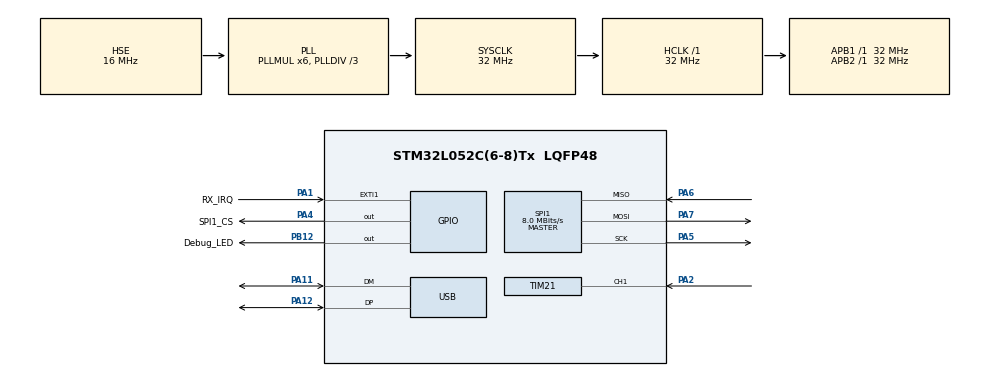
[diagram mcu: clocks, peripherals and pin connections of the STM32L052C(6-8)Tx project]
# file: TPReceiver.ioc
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Mcu.Family=STM32L0
Mcu.Name=STM32L052C(6-8)Tx
Mcu.Package=LQFP48
NVIC.EXTI0_1_IRQn=true\:0\:0\:false\:false\:true\:true\:true\:true
NVIC.TIM21_IRQn=true\:0\:0\:false\:false\:true\:true\:true\:true
NVIC.USB_IRQn=true\:0\:0\:false\:false\:true\:false\:true\:true
PA1.GPIO_Label=RX_IRQ
PA1.GPIO_ModeDefaultEXTI=GPIO_MODE_IT_FALLING
PA1.GPIO_PuPd=GPIO_PULLDOWN
PA1.Signal=GPXTI1
PA11.Mode=Device
PA11.Signal=USB_DM
PA12.Mode=Device
PA12.Signal=USB_DP
PA13.Mode=Serial_Wire
PA13.Signal=SYS_SWDIO
PA14.Mode=Serial_Wire
PA14.Signal=SYS_SWCLK
PA2.Signal=S_TIM21_CH1
PA4.GPIO_Label=SPI1_CS
PA4.Signal=GPIO_Output
PA5.Mode=Full_Duplex_Master
PA5.Signal=SPI1_SCK
PA6.Mode=Full_Duplex_Master
PA6.Signal=SPI1_MISO
PA7.Mode=Full_Duplex_Master
PA7.Signal=SPI1_MOSI
PB12.GPIO_Label=Debug_LED
PB12.Signal=GPIO_Output
PH0-OSC_IN.Mode=HSE-External-Oscillator
PH0-OSC_IN.Signal=RCC_OSC_IN
PH1-OSC_OUT.Mode=HSE-External-Oscillator
PH1-OSC_OUT.Signal=RCC_OSC_OUT
ProjectManager.HeapSize=0x200
ProjectManager.StackSize=0x400
ProjectManager.TargetToolchain=STM32CubeIDE
RCC.AHBFreq_Value=32000000
RCC.APB1Freq_Value=32000000
RCC.APB1TimFreq_Value=32000000
RCC.APB2Freq_Value=32000000
RCC.APB2TimFreq_Value=32000000
RCC.HCLKFreq_Value=32000000
RCC.HSE_VALUE=16000000
RCC.HSI16_VALUE=16000000
RCC.HSI48_VALUE=48000000
RCC.HSI_VALUE=16000000
RCC.LSE_VALUE=32768
RCC.MSI_VALUE=2097000
RCC.PLLDIV=RCC_PLLDIV_3
RCC.PLLMUL=RCC_PLLMUL_6
RCC.SYSCLKFreq_VALUE=32000000
RCC.SYSCLKSource=RCC_SYSCLKSOURCE_PLLCLK
RCC.VCOOutputFreq_Value=96000000
SH.S_TIM21_CH1.0=TIM21_CH1,Input_Capture1_from_TI1
SPI1.BaudRatePrescaler=SPI_BAUDRATEPRESCALER_4
SPI1.CalculateBaudRate=8.0 MBits/s
SPI1.Direction=SPI_DIRECTION_2LINES
SPI1.Mode=SPI_MODE_MASTER
SPI1.VirtualType=VM_MASTER
TIM21.Channel-Input_Capture1_from_TI1=TIM_CHANNEL_1
TIM21.Period=100-1
TIM21.Prescaler=32000-1
USB_DEVICE.CLASS_NAME_FS=CDC
USB_DEVICE.VirtualMode=Cdc
USB_DEVICE.VirtualModeFS=Cdc_FS
VP_TIM21_VS_ClockSourceINT.Mode=Internal
VP_USB_DEVICE_VS_USB_DEVICE_CDC_FS.Mode=CDC_FS
board=custom

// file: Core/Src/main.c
/* USER CODE BEGIN Header */
/**
  ******************************************************************************
  * @file           : main.c
  * @brief          : Main program body
  ******************************************************************************
  * @attention
  *
  * Copyright (c) 2025 STMicroelectronics.
  * All rights reserved.
  *
  * This software is licensed under terms that can be found in the LICENSE file
  * in the root directory of this software component.
  * If no LICENSE file comes with this software, it is provided AS-IS.
  *
  ******************************************************************************
  */
/* USER CODE END Header */
#include "main.h"
#include "usb_device.h"

/* USER CODE BEGIN Includes */
//#include "cc1101.h"
#include "W5500.h"
#include "sensor_map.h"
#include "type_conv.h"
/* USER CODE END Includes */

/* USER CODE BEGIN PTD */

typedef enum {
	PRO_CMD_SENSOR_ID = 				0x01,
	PRO_CMD_SENSOR_TYPE = 				0x02,
	PRO_CMD_STORAGE_SAMPLE = 			0x10,
	PRO_CMD_TRANS_SAMPLE = 				0x11,
	PRO_CMD_TRANS_TX = 					0x12,
	PRO_CMD_STATIC_SAMPLE = 			0x13,
	PRO_CMD_STATIC_TX = 				0x14,
	PRO_CMD_PRESS_THRESH1 = 			0x20,
	PRO_CMD_PRESS_THRESH2 = 			0x21,
	PRO_CMD_PRESS_THRESH_CHANGE = 		0x22,
	PRO_CMD_READ_ALL =					0x50
} pro_cmd_t;

typedef struct {
	uint8_t sensorid;						//this is the default sensorid the current id is stored in eeprom
	uint8_t sensortype;						//0x01 = tyre pressure | 0x02 = brake disk pressure (to be implemented)
	uint32_t storage_time_sample;			//sample rate tx (ms) in transient mode
	uint32_t trans_time_tx;					//sample rate tx (ms) in transient mode
	uint32_t trans_time_sample;				//sample rate abp2 read (ms) in transient mode
	uint32_t static_time_tx;				//sample rate tx (ms) in transient mode
	uint32_t static_time_sample;			//sample rate abp2 read (ms) in transient mode
	float trans_press_thresh1;				//move from storage into transient mode
	float trans_press_thresh2;				//move from transient mode into storage mode
	float trans_press_change;				//minimum pressure change to move to transient mode
	int16_t rssi;
}eeprom_conf_t;

/* USER CODE END PTD */

/* USER CODE BEGIN PD */

#define EXPECTED_BYTES_DATA		15	//bytes send +2 (rssi and lqi)
#define EXPECTED_BYTES_EEPROM	37	//eeprom config +2 (rssi and lqi)

#define W5500_IP
#define W5500_IP

/* USER CODE END PD */

SPI_HandleTypeDef hspi1;

TIM_HandleTypeDef htim21;

/* USER CODE BEGIN PV */

cc1101_t cc1101;

cc1101_marc_state marcstate = CC1101_MARC_SLEEP;

sensor_data sensor_received;
sensor_map_t sensor_map[SENSORS_MAX];
eeprom_conf_t eeprom_conf = {0};

bool Init_complete = false;

//===========CC1101 TX==============
bool tx_send = false;
uint8_t tx_fifo[6] = {0x05, PRO_CMD_READ_ALL, 0x01, 0x02, 0x03, 0x04};

//===========CC1101 RX==============
bool new_data = false;
uint8_t rx_bytes = 0xFF;
uint8_t rx[50] = {0};		//must be big enough to fit all bytes
uint8_t rx_length = 0x00;

//===========Debug variables==============
uint8_t debug_status_part = 0;
uint8_t debug_status_ver = 0;

uint8_t  debug_reg_all_before[46] = {0};
uint8_t  debug_reg_all_after[46] = {0};

uint8_t debug_rx_counter = 0x00;
uint8_t debug_tx_counter = 0x00;
uint8_t debug_pktstatus = 0x00;

uint8_t debug_tx_bytes1 = 0xFF;
uint8_t debug_tx_bytes2 = 0xFF;

//===========W5500s==============
w5500_t w5500;
uint8_t w5500_version = 0xFF;

//local config
uint8_t w5500_max_local[6] = {0x02,0x00,0x00,0x00,0x00,0x69}; 	// locally administered
uint8_t w5500_ip_local [4] = {192,168, 1, 69};					// local IP
uint8_t w5500_subnet_local[4] = {255,255,255, 0};				// Subnet
uint8_t w5500_gw_local [4] = {192,168, 1, 1};					// Gateway

uint8_t w5500_socket_rx = 1;
uint8_t w5500_socket_tx = 0;

uint16_t w5500_TXport_local = 5000;
uint16_t w5500_RXport_local = 5001;

//remote config
uint8_t w5500_ip_remote [4] = {192,168, 1, 107};				// remote IP
uint16_t w5500_TXport_remote = 60002;
uint8_t w5500_data_tx[8] = {0x10, 0x20, 0x30, 0x40, 0x50, 0x60, 0x70, 0x80};

/* USER CODE END PV */

void SystemClock_Config(void);
static void MX_GPIO_Init(void);
static void MX_SPI1_Init(void);
static void MX_TIM21_Init(void);
/* USER CODE BEGIN PFP */

static void ReadRx(void);
static void ParseRx_DataFrame(uint8_t *frame, sensor_data *val);
static void ParseRx_EEPROMFrame(uint8_t *frame, eeprom_conf_t *val);

/* USER CODE END PFP */

/* USER CODE BEGIN 0 */

void HAL_GPIO_EXTI_Callback(uint16_t GPIO_Pin)
{
	if (Init_complete)
	{
		//CC1101 complete package received
		new_data = true;
	}
}

void HAL_TIM_PeriodElapsedCallback(TIM_HandleTypeDef *htim)
{
    if (htim == &htim21)
    {
        tx_send = true;
    }
}

/* USER CODE END 0 */

int main(void)
{

  /* MCU Configuration--------------------------------------------------------*/

  /* Reset of all peripherals, Initializes the Flash interface and the Systick. */
  HAL_Init();

  /* Configure the system clock */
  SystemClock_Config();

  /* Initialize all configured peripherals */
  MX_GPIO_Init();
  MX_SPI1_Init();
  MX_USB_DEVICE_Init();
  MX_TIM21_Init();
  /* USER CODE BEGIN 2 */

  //Start Timers
  HAL_TIM_Base_Start_IT(&htim21);

  /* Disable for W5500 testing

  // CC1101 Init
  CC1101_Init(&cc1101, &hspi1, SPI1_CS_GPIO_Port, SPI1_CS_Pin);

  // CC1101 Debugging tests
  CC1101_read_status(&cc1101, CC1101_STATUS_PARTNUM, &debug_status_part);
  CC1101_read_status(&cc1101, CC1101_STATUS_VERSION, &debug_status_ver);

  // CC1101 configuration
  CC1101_read_register_burst(&cc1101, CC1101_REG_IOCFG2, debug_reg_all_before, 46);
  CC1101_Apply433_38k4(&cc1101);
  CC1101_read_register_burst(&cc1101, CC1101_REG_IOCFG2, debug_reg_all_after, 46);

  CC1101_Set_Rx_threshold(&cc1101, CC1101_RX_18dB);

  // CC1101 Start Rx
  //CC1101_EnterRx(&cc1101);

  //programming mode test
  //CC1101_PrepareTx(&cc1101);
  CC1101_EnterRx(&cc1101);

  CC1101_Set_Tx_power(&cc1101, CC1101_TX_10dB);
  CC1101_read_marcstate(&cc1101, &marcstate);
  */

  //W5500 Init
  HAL_GPIO_WritePin(RX_IRQ_GPIO_Port, RX_IRQ_Pin, GPIO_PIN_SET);			//Move to other pin on deployment
  HAL_Delay(1000);
  W5500_Init(&w5500, &hspi1, SPI1_CS_GPIO_Port, SPI1_CS_Pin);
  W5500_ReadCommon_Register(&w5500, W5500_ADD_COMMON_VERSIONR, &w5500_version, 1);

  // W5500 Network Config
  W5500_WriteCommon_Register(&w5500, W5500_ADD_COMMON_SHAR, w5500_max_local, 6);				// MAC Addresse
  W5500_WriteCommon_Register(&w5500, W5500_ADD_COMMON_GAR, w5500_gw_local, 4);				// Gateway
  W5500_WriteCommon_Register(&w5500, W5500_ADD_COMMON_SUBR, w5500_subnet_local, 4);			// Subnet Mask
  W5500_WriteCommon_Register(&w5500, W5500_ADD_COMMON_SIPR, w5500_ip_local, 4);				// IP Addresse

  //W5500 TX/RX Config
  W5500_Configure_SocketUDP(&w5500, w5500_socket_tx, w5500_TXport_local);			//TX Port
  W5500_Configure_SocketUDP(&w5500, w5500_socket_rx, w5500_RXport_local);			//TX Port

  //W5500 RX Config

  Init_complete = true;

  /* USER CODE END 2 */

  /* Infinite loop */
  while (1)
  {

    /* USER CODE BEGIN 3 */

	if (tx_send)
	{
		W5500_SendUDP(&w5500, 0, w5500_ip_remote, w5500_TXport_remote, w5500_data_tx, sizeof(w5500_data_tx));
		tx_send = false;
	}

	/* Disable for W5500 testing
	if (new_data)	//Triggered by GDO IRQ
	{
		debug_rx_counter++;
		ReadRx();
		HAL_GPIO_TogglePin(Debug_LED_GPIO_Port, Debug_LED_Pin);
		new_data = false;
	}

	if (tx_send)	//Triggered by Timer --> move to UDP cmd in the future
	{
		//Prepare TX FIFO and prepare for TX
		tx_fifo[2] = debug_tx_counter;
		debug_tx_counter++;
		CC1101_PrepareTx(&cc1101);

		//Write FIFO and send FIFO
		CC1101_write_TX_FIFO(&cc1101, tx_fifo, sizeof(tx_fifo));
		CC1101_read_status(&cc1101, CC1101_STATUS_TXBYTES, &debug_tx_bytes1);
		CC1101_SendTx(&cc1101);
		CC1101_read_status(&cc1101, CC1101_STATUS_TXBYTES, &debug_tx_bytes2);

		//Return back to RX so data can be received
		CC1101_EnterRx(&cc1101);
		CC1101_read_marcstate(&cc1101, &marcstate);
		tx_send = false;

		HAL_GPIO_TogglePin(Debug_LED_GPIO_Port, Debug_LED_Pin);
	}
	*/
  }
  /* USER CODE END 3 */
}

void SystemClock_Config(void)
{
  RCC_OscInitTypeDef RCC_OscInitStruct = {0};
  RCC_ClkInitTypeDef RCC_ClkInitStruct = {0};
  RCC_PeriphCLKInitTypeDef PeriphClkInit = {0};

  /** Configure the main internal regulator output voltage
  */
  __HAL_PWR_VOLTAGESCALING_CONFIG(PWR_REGULATOR_VOLTAGE_SCALE1);

  /** Initializes the RCC Oscillators according to the specified parameters
  * in the RCC_OscInitTypeDef structure.
  */
  RCC_OscInitStruct.OscillatorType = RCC_OSCILLATORTYPE_HSE;
  RCC_OscInitStruct.HSEState = RCC_HSE_ON;
  RCC_OscInitStruct.PLL.PLLState = RCC_PLL_ON;
  RCC_OscInitStruct.PLL.PLLSource = RCC_PLLSOURCE_HSE;
  RCC_OscInitStruct.PLL.PLLMUL = RCC_PLLMUL_6;
  RCC_OscInitStruct.PLL.PLLDIV = RCC_PLLDIV_3;
  if (HAL_RCC_OscConfig(&RCC_OscInitStruct) != HAL_OK)
  {
    Error_Handler();
  }

  /** Initializes the CPU, AHB and APB buses clocks
  */
  RCC_ClkInitStruct.ClockType = RCC_CLOCKTYPE_HCLK|RCC_CLOCKTYPE_SYSCLK
                              |RCC_CLOCKTYPE_PCLK1|RCC_CLOCKTYPE_PCLK2;
  RCC_ClkInitStruct.SYSCLKSource = RCC_SYSCLKSOURCE_PLLCLK;
  RCC_ClkInitStruct.AHBCLKDivider = RCC_SYSCLK_DIV1;
  RCC_ClkInitStruct.APB1CLKDivider = RCC_HCLK_DIV1;
  RCC_ClkInitStruct.APB2CLKDivider = RCC_HCLK_DIV1;

  if (HAL_RCC_ClockConfig(&RCC_ClkInitStruct, FLASH_LATENCY_1) != HAL_OK)
  {
    Error_Handler();
  }
  PeriphClkInit.PeriphClockSelection = RCC_PERIPHCLK_USB;
  PeriphClkInit.UsbClockSelection = RCC_USBCLKSOURCE_PLL;
  if (HAL_RCCEx_PeriphCLKConfig(&PeriphClkInit) != HAL_OK)
  {
    Error_Handler();
  }
  HAL_RCC_MCOConfig(RCC_MCO1, RCC_MCO1SOURCE_SYSCLK, RCC_MCODIV_1);
}

static void MX_SPI1_Init(void)
{

  /* SPI1 parameter configuration*/
  hspi1.Instance = SPI1;
  hspi1.Init.Mode = SPI_MODE_MASTER;
  hspi1.Init.Direction = SPI_DIRECTION_2LINES;
  hspi1.Init.DataSize = SPI_DATASIZE_8BIT;
  hspi1.Init.CLKPolarity = SPI_POLARITY_LOW;
  hspi1.Init.CLKPhase = SPI_PHASE_1EDGE;
  hspi1.Init.NSS = SPI_NSS_SOFT;
  hspi1.Init.BaudRatePrescaler = SPI_BAUDRATEPRESCALER_4;
  hspi1.Init.FirstBit = SPI_FIRSTBIT_MSB;
  hspi1.Init.TIMode = SPI_TIMODE_DISABLE;
  hspi1.Init.CRCCalculation = SPI_CRCCALCULATION_DISABLE;
  hspi1.Init.CRCPolynomial = 7;
  if (HAL_SPI_Init(&hspi1) != HAL_OK)
  {
    Error_Handler();
  }

}

static void MX_TIM21_Init(void)
{

  TIM_ClockConfigTypeDef sClockSourceConfig = {0};
  TIM_MasterConfigTypeDef sMasterConfig = {0};
  TIM_IC_InitTypeDef sConfigIC = {0};

  htim21.Instance = TIM21;
  htim21.Init.Prescaler = 32000-1;
  htim21.Init.CounterMode = TIM_COUNTERMODE_UP;
  htim21.Init.Period = 100-1;
  htim21.Init.ClockDivision = TIM_CLOCKDIVISION_DIV1;
  htim21.Init.AutoReloadPreload = TIM_AUTORELOAD_PRELOAD_DISABLE;
  if (HAL_TIM_Base_Init(&htim21) != HAL_OK)
  {
    Error_Handler();
  }
  sClockSourceConfig.ClockSource = TIM_CLOCKSOURCE_INTERNAL;
  if (HAL_TIM_ConfigClockSource(&htim21, &sClockSourceConfig) != HAL_OK)
  {
    Error_Handler();
  }
  if (HAL_TIM_IC_Init(&htim21) != HAL_OK)
  {
    Error_Handler();
  }
  sMasterConfig.MasterOutputTrigger = TIM_TRGO_RESET;
  sMasterConfig.MasterSlaveMode = TIM_MASTERSLAVEMODE_DISABLE;
  if (HAL_TIMEx_MasterConfigSynchronization(&htim21, &sMasterConfig) != HAL_OK)
  {
    Error_Handler();
  }
  sConfigIC.ICPolarity = TIM_INPUTCHANNELPOLARITY_RISING;
  sConfigIC.ICSelection = TIM_ICSELECTION_DIRECTTI;
  sConfigIC.ICPrescaler = TIM_ICPSC_DIV1;
  sConfigIC.ICFilter = 0;
  if (HAL_TIM_IC_ConfigChannel(&htim21, &sConfigIC, TIM_CHANNEL_1) != HAL_OK)
  {
    Error_Handler();
  }

}

static void MX_GPIO_Init(void)
{
  GPIO_InitTypeDef GPIO_InitStruct = {0};

  /* GPIO Ports Clock Enable */
  __HAL_RCC_GPIOH_CLK_ENABLE();
  __HAL_RCC_GPIOA_CLK_ENABLE();
  __HAL_RCC_GPIOB_CLK_ENABLE();

  /*Configure GPIO pin Output Level */
  HAL_GPIO_WritePin(SPI1_CS_GPIO_Port, SPI1_CS_Pin, GPIO_PIN_RESET);

  /*Configure GPIO pin Output Level */
  HAL_GPIO_WritePin(Debug_LED_GPIO_Port, Debug_LED_Pin, GPIO_PIN_RESET);

  /*Configure GPIO pin : RX_IRQ_Pin */
  GPIO_InitStruct.Pin = RX_IRQ_Pin;
  GPIO_InitStruct.Mode = GPIO_MODE_IT_FALLING;
  GPIO_InitStruct.Pull = GPIO_PULLDOWN;
  HAL_GPIO_Init(RX_IRQ_GPIO_Port, &GPIO_InitStruct);

  /*Configure GPIO pin : SPI1_CS_Pin */
  GPIO_InitStruct.Pin = SPI1_CS_Pin;
  GPIO_InitStruct.Mode = GPIO_MODE_OUTPUT_PP;
  GPIO_InitStruct.Pull = GPIO_NOPULL;
  GPIO_InitStruct.Speed = GPIO_SPEED_FREQ_LOW;
  HAL_GPIO_Init(SPI1_CS_GPIO_Port, &GPIO_InitStruct);

  /*Configure GPIO pin : Debug_LED_Pin */
  GPIO_InitStruct.Pin = Debug_LED_Pin;
  GPIO_InitStruct.Mode = GPIO_MODE_OUTPUT_PP;
  GPIO_InitStruct.Pull = GPIO_NOPULL;
  GPIO_InitStruct.Speed = GPIO_SPEED_FREQ_LOW;
  HAL_GPIO_Init(Debug_LED_GPIO_Port, &GPIO_InitStruct);

  /* EXTI interrupt init*/
  HAL_NVIC_SetPriority(EXTI0_1_IRQn, 0, 0);
  HAL_NVIC_EnableIRQ(EXTI0_1_IRQn);

}

/* USER CODE BEGIN 4 */

static void ReadRx(void)
{
	//CC1101 RX Status
    CC1101_read_marcstate(&cc1101, &marcstate);
    if (marcstate == CC1101_MARC_RXFIFO_OVERFLOW)						//Flush FIFO and wait for new message
    {
        CC1101_Recover_RX_Overflow(&cc1101);
        return;
    }

	CC1101_read_status(&cc1101, CC1101_STATUS_RXBYTES, &rx_bytes);
	//CC1101_read_status(&cc1101, CC1101_STATUS_PKTSTATUS, &debug_pktstatus);

	if (rx_bytes > 0)
	{
		CC1101_read_RX_FIFO(&cc1101, &rx_length, 1);					//read packet length
		CC1101_read_status(&cc1101, CC1101_STATUS_RXBYTES, &rx_bytes);	//read again because byte was read from FIFO
		rx_length = rx_length + 2;										//add rssi and lqi

		if (rx_bytes >= rx_length)
		{
			if (rx_length == EXPECTED_BYTES_DATA)						//read Sensor Data
			{
				CC1101_read_RX_FIFO(&cc1101, rx, rx_length);
				ParseRx_DataFrame(rx, &sensor_received);
				sensors_set_sensor(sensor_map, sensor_received);
			}
			else if (rx_length == EXPECTED_BYTES_EEPROM)				//read EEPROM state
			{
				CC1101_read_RX_FIFO(&cc1101, rx, rx_length);
				ParseRx_EEPROMFrame(rx, &eeprom_conf);
			}
			else
			{
				CC1101_EnterRx(&cc1101);								//unexpected length byte, flush FIFO and wait for correct length byte
			}
		}
	}
}

static void ParseRx_DataFrame(uint8_t *frame, sensor_data *val)
{
    uint8_t i = 0;
    val->sensor_id = frame[i++];									//get sensorid
    val->sensor_type = frame[i++];									//get sensortype
    val->power = frame[i++];										//get tx power stage
    val->counter = frame[i++];                    					//get alive counter
    val->abp2_status_raw = frame[i++];								//get sensor status

    val->abp2_pressure = Bytearray_to_Float(&frame[i]);				i += 4;		//get pressure as uint32
    val->abp2_temperature = Bytearray_to_Float(&frame[i]);			i += 4;		//get temperature as uint32

    val->rssi = CC1101_Convert_RSSI(frame[i++]);
}

static void ParseRx_EEPROMFrame(uint8_t *frame, eeprom_conf_t *val)
{
    uint8_t i = 0;
    val->sensorid = frame[i++];
    val->sensortype = frame[i++];
    i++;	//power setting

    val->storage_time_sample = Bytearray_to_UINT32(&frame[i]);		i += 4;
    val->trans_time_tx = Bytearray_to_UINT32(&frame[i]);			i += 4;
    val->trans_time_sample = Bytearray_to_UINT32(&frame[i]);		i += 4;
    val->static_time_tx = Bytearray_to_UINT32(&frame[i]);			i += 4;
    val->static_time_sample = Bytearray_to_UINT32(&frame[i]);		i += 4;

    val->trans_press_thresh1 = Bytearray_to_Float(&frame[i]);		i += 4;
    val->trans_press_thresh2 = Bytearray_to_Float(&frame[i]);		i += 4;
    val->trans_press_change = Bytearray_to_Float(&frame[i]);		i += 4;

    val->rssi = CC1101_Convert_RSSI(frame[i++]);
}

/* USER CODE END 4 */

void Error_Handler(void)
{
  __disable_irq();
  while (1)
  {
  }
}
